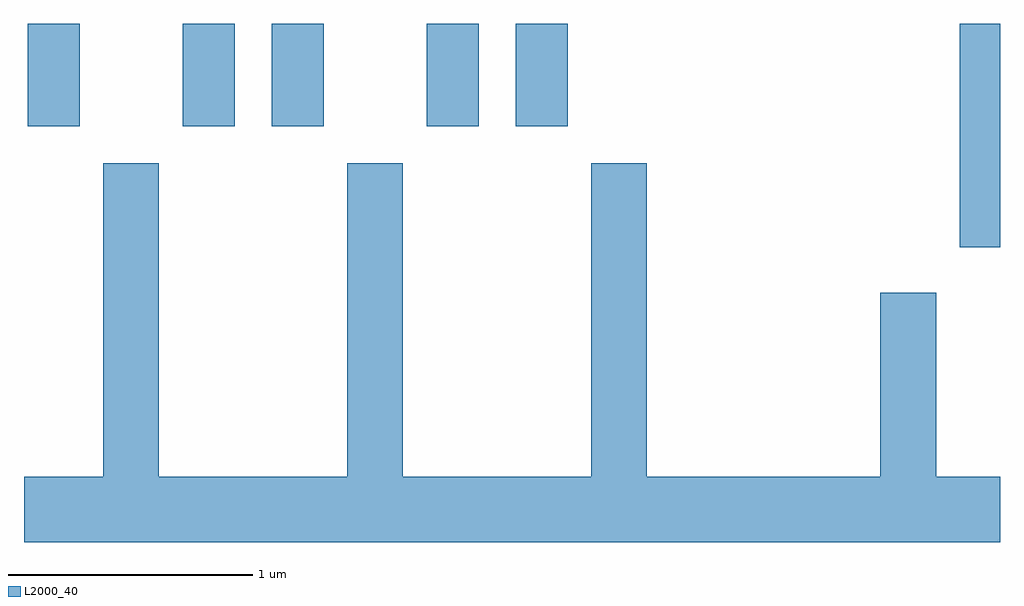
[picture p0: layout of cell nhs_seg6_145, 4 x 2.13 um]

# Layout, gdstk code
import gdstk
lib = gdstk.Library(unit=1e-6, precision=1e-09)
def R(c, l, rs):  # rectangles x0, y0, x1, y1
    for r in rs: c.add(gdstk.rectangle(r[:2], r[2:], *l))
def P(c, l, *ps):  # polygons
    for p in ps: c.add(gdstk.Polygon(p, *l))
L2000_40 = (2000, 40)

nhs_seg6_145 = lib.new_cell('nhs_seg6_145')
R(nhs_seg6_145, L2000_40, [(193.446,1551.246,193.611,1552.162), (189.626,1551.741,189.839,1552.162), (190.261,1551.741,190.474,1552.162), (190.626,1551.741,190.839,1552.162), (191.261,1551.741,191.474,1552.162), (191.626,1551.741,191.839,1552.162)])
P(nhs_seg6_145, L2000_40, [(193.611,1550.304),(193.349,1550.304),(193.349,1551.059),(193.121,1551.059),(193.121,1550.304),(192.164,1550.304),(192.164,1551.589),(191.936,1551.589),(191.936,1550.304),(191.164,1550.304),(191.164,1551.589),(190.936,1551.589),(190.936,1550.304),(190.164,1550.304),(190.164,1551.589),(189.936,1551.589),(189.936,1550.304),(189.611,1550.304),(189.611,1550.036),(193.611,1550.036)])

lib.write_gds('nhs_seg6_145.gds')
